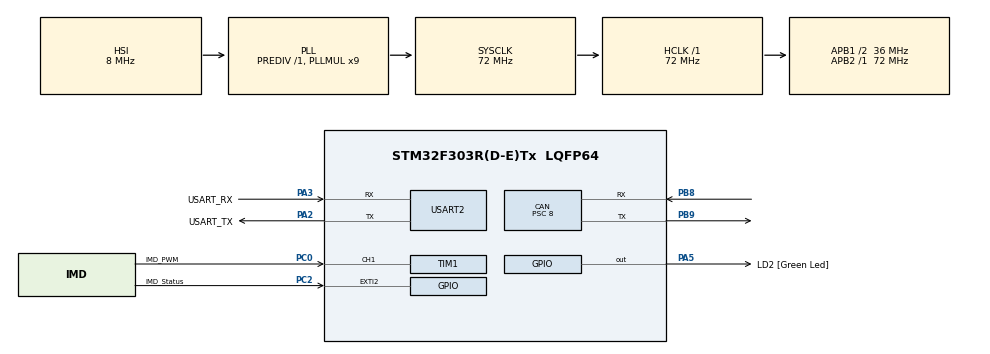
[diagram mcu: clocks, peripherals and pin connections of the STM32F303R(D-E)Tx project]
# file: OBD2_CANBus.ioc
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CAN.BS1=CAN_BS1_4TQ
CAN.BS2=CAN_BS2_4TQ
CAN.CalculateBaudRate=500000
CAN.CalculateTimeBit=2000
CAN.CalculateTimeQuantum=222.22222222222223
CAN.Prescaler=8
CAN.SJW=CAN_SJW_1TQ
Mcu.Family=STM32F3
Mcu.Name=STM32F303R(D-E)Tx
Mcu.Package=LQFP64
NVIC.EXTI2_TSC_IRQn=true\:0\:0\:false\:false\:true\:true\:true\:true
NVIC.PriorityGroup=NVIC_PRIORITYGROUP_0
NVIC.TIM1_CC_IRQn=true\:0\:0\:false\:false\:true\:true\:true\:true
NVIC.USB_LP_CAN_RX0_IRQn=true\:0\:0\:false\:false\:true\:true\:true\:true
PA13.GPIO_Label=TMS
PA13.Mode=Trace_Asynchronous_SW
PA13.Signal=SYS_JTMS-SWDIO
PA14.GPIO_Label=TCK
PA14.Mode=Trace_Asynchronous_SW
PA14.Signal=SYS_JTCK-SWCLK
PA2.GPIO_Label=USART_TX
PA2.GPIO_Mode=GPIO_MODE_AF_PP
PA2.GPIO_PuPd=GPIO_NOPULL
PA2.GPIO_Speed=GPIO_SPEED_FREQ_LOW
PA2.Mode=Asynchronous
PA2.Signal=USART2_TX
PA3.GPIO_Label=USART_RX
PA3.GPIO_Mode=GPIO_MODE_AF_PP
PA3.GPIO_PuPd=GPIO_NOPULL
PA3.GPIO_Speed=GPIO_SPEED_FREQ_LOW
PA3.Mode=Asynchronous
PA3.Signal=USART2_RX
PA5.GPIO_Label=LD2 [Green Led]
PA5.GPIO_Mode=GPIO_MODE_OUTPUT_PP
PA5.GPIO_PuPd=GPIO_NOPULL
PA5.GPIO_Speed=GPIO_SPEED_FREQ_LOW
PA5.Signal=GPIO_Output
PB3.GPIO_Label=SWO
PB3.Mode=Trace_Asynchronous_SW
PB3.Signal=SYS_JTDO-TRACESWO
PB8.Mode=CAN_Activate
PB8.Signal=CAN_RX
PB9.Mode=CAN_Activate
PB9.Signal=CAN_TX
PC0.GPIO_Label=IMD_PWM
PC0.Signal=S_TIM1_CH1
PC14-OSC32_IN.Mode=LSE-External-Oscillator
PC14-OSC32_IN.Signal=RCC_OSC32_IN
PC15-OSC32_OUT.Mode=LSE-External-Oscillator
PC15-OSC32_OUT.Signal=RCC_OSC32_OUT
PC2.GPIO_Label=IMD_Status
PC2.GPIO_ModeDefaultEXTI=GPIO_MODE_IT_RISING_FALLING
PC2.Signal=GPXTI2
PF0-OSC_IN.Mode=HSE-External-Clock-Source
PF0-OSC_IN.Signal=RCC_OSC_IN
PF1-OSC_OUT.Signal=RCC_OSC_OUT
ProjectManager.HeapSize=0x200
ProjectManager.StackSize=0x400
ProjectManager.TargetToolchain=STM32CubeIDE
RCC.AHBFreq_Value=72000000
RCC.APB1CLKDivider=RCC_HCLK_DIV2
RCC.APB1Freq_Value=36000000
RCC.APB1TimFreq_Value=72000000
RCC.APB2Freq_Value=72000000
RCC.APB2TimFreq_Value=72000000
RCC.CortexFreq_Value=72000000
RCC.HCLKFreq_Value=72000000
RCC.HSE_VALUE=8000000
RCC.HSI_VALUE=8000000
RCC.PLLM=8
RCC.PLLMUL=RCC_PLL_MUL9
RCC.PLLN=336
RCC.PLLP=RCC_PLLP_DIV4
RCC.PLLQ=7
RCC.RCC_PLLsource_Clock_Source_FROM_HSE=RCC_HSE_PREDIV_DIV2
RCC.SYSCLKFreq_VALUE=72000000
RCC.SYSCLKSourceVirtual=RCC_SYSCLKSOURCE_PLLCLK
RCC.USBFreq_Value=72000000
SH.S_TIM1_CH1.0=TIM1_CH1,PWM_Input_1
TIM1.Prescaler=72
USART2.VirtualMode-Asynchronous=VM_ASYNC
VP_TIM1_VS_ClockSourceINT.Mode=Internal
board=NUCLEO-F303RE

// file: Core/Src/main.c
/* USER CODE BEGIN Header */
/**
  ******************************************************************************
  * @file           : main.c
  * @brief          : Main program body
  ******************************************************************************
  * @attention
  *
  * Copyright (c) 2025 STMicroelectronics.
  * All rights reserved.
  *
  * This software is licensed under terms that can be found in the LICENSE file
  * in the root directory of this software component.
  * If no LICENSE file comes with this software, it is provided AS-IS.
  *
  ******************************************************************************
  */
/* USER CODE END Header */
#include "main.h"

/* USER CODE BEGIN Includes */
#include "stdio.h"
#include "OBD2msg.h"
#include "BMSmsg.h"
/* USER CODE END Includes */

/* USER CODE BEGIN PD */
#define ID						0x112
#define TIMER_PRESCALER 		71
#define TIMER_CLK 				(72000000 / (TIMER_PRESCALER + 1))

// IMD messaging
#define IMD_ID					0x100
#define IMD_MSG_LEN				6

/* USER CODE END PD */

CAN_HandleTypeDef hcan;

TIM_HandleTypeDef htim1;

UART_HandleTypeDef huart2;

/* USER CODE BEGIN PV */
CAN_TxHeaderTypeDef		TxHeader;
CAN_RxHeaderTypeDef		RxHeader;
uint8_t					TxData[8];
uint8_t					RxData[8];
uint32_t				TxMailbox;
uint8_t i;

uint8_t msgBuffer[8];
uint8_t clearBuffer[8] = {0x00, 0x00, 0x00, 0x00, 0x00, 0x00, 0x00, 0x00};

// For IMD messaging
uint8_t	IMD_TxData[IMD_MSG_LEN];	// transmit register for IMD

/* USER CODE END PV */

void SystemClock_Config(void);
static void MX_GPIO_Init(void);
static void MX_USART2_UART_Init(void);
static void MX_CAN_Init(void);
static void MX_TIM1_Init(void);
/* USER CODE BEGIN PFP */
void ReceiveIndicator(void);
void TransmitIndicator(void);
/* USER CODE END PFP */

/* USER CODE BEGIN 0 */

volatile uint32_t ICValue = 0;
volatile uint8_t Frequency = 0;
volatile uint8_t Status = 0;
volatile uint8_t Duty = 0;

void HAL_TIM_IC_CaptureCallback(TIM_HandleTypeDef *htim)
{
	if(htim->Channel == HAL_TIM_ACTIVE_CHANNEL_1)	//	If the interrupt is triggered by channel 1
	{
		// Disable interrupts to ensure atomic access to shared variables
		__disable_irq();

		//	Read the IC value
		ICValue = HAL_TIM_ReadCapturedValue(htim, TIM_CHANNEL_1);

		if (ICValue != 0)
		{
			//	calculate the Duty Cycle
			Duty = (uint8_t)((HAL_TIM_ReadCapturedValue(htim, TIM_CHANNEL_2) * 100)/ICValue);

			//	calculate the frequency of the signal
			//Frequency = 72000000/ICValue;
			Frequency = (uint8_t)(TIMER_CLK / ICValue);
		}

		// check status from GPIO

		// Re-enable interrupts
		__enable_irq();
	}
}

int _write(int file, char *ptr, int len)
{
  for (i = 0; i < len; i++)
  {
    ITM_SendChar(*ptr++);
  }
  return len;
}

/* USER CODE END 0 */

int main(void)
{

  /* MCU Configuration--------------------------------------------------------*/

  /* Reset of all peripherals, Initializes the Flash interface and the Systick. */
  HAL_Init();

  /* Configure the system clock */
  SystemClock_Config();

  /* Initialize all configured peripherals */
  MX_GPIO_Init();
  MX_USART2_UART_Init();
  MX_CAN_Init();
  MX_TIM1_Init();
  /* USER CODE BEGIN 2 */

  HAL_TIM_IC_Start_IT(&htim1, TIM_CHANNEL_1); 	//	main channel
  HAL_TIM_IC_Start(&htim1, TIM_CHANNEL_2);		//	indirect channel

  // Adjust CAN settings for IMD Messages
  TxHeader.StdId = IMD_ID;
  TxHeader.DLC = IMD_MSG_LEN;

  /* USER CODE END 2 */

  /* Infinite loop */
  while (1)
  {

    /* USER CODE BEGIN 3 */

	  HAL_Delay(100);

	  writeIMD(IMD_TxData, Frequency, Duty, Status);
	  if (HAL_CAN_AddTxMessage(&hcan, &TxHeader, IMD_TxData, &TxMailbox) != HAL_OK) {		// Transmit the message
		  Error_Handler();																	// Transmission error
	  }

	  // Transmit
//	  writeOBD2BMS(msgBuffer, BMS_LEN_PSOC, OBD2_BMS_MODE, BMS_PID_PSOC, clearBuffer);	// Construct OBD2 Format Message in buffer
//	  loadOBD2(TxData, msgBuffer);														// Copy the buffer into the transmit register
//	  HAL_Delay(50);
//	  if (HAL_CAN_AddTxMessage(&hcan, &TxHeader, TxData, &TxMailbox) != HAL_OK) {		// Transmit the message
//		  Error_Handler();																// Transmission error
//		  }

	  // Receive
//	  if (RxData[1] != 0x00) {
//		  readOBD2BMS(RxData);
//		  HAL_Delay(50);					    											    // Keep LED on for 2 seconds
//		  for (i=0; i<8; i++) {
//			  RxData[i] = 0x00;																	// Reset the RxData[] buffer (used as flag)
//			  }
//		  HAL_Delay(100);																		// Need a delay after toggle
//		  }

  }

  /* USER CODE END 3 */
}

void SystemClock_Config(void)
{
  RCC_OscInitTypeDef RCC_OscInitStruct = {0};
  RCC_ClkInitTypeDef RCC_ClkInitStruct = {0};
  RCC_PeriphCLKInitTypeDef PeriphClkInit = {0};

  /** Initializes the RCC Oscillators according to the specified parameters
  * in the RCC_OscInitTypeDef structure.
  */
  RCC_OscInitStruct.OscillatorType = RCC_OSCILLATORTYPE_HSI;
  RCC_OscInitStruct.HSIState = RCC_HSI_ON;
  RCC_OscInitStruct.HSICalibrationValue = RCC_HSICALIBRATION_DEFAULT;
  RCC_OscInitStruct.PLL.PLLState = RCC_PLL_ON;
  RCC_OscInitStruct.PLL.PLLSource = RCC_PLLSOURCE_HSI;
  RCC_OscInitStruct.PLL.PLLMUL = RCC_PLL_MUL9;
  RCC_OscInitStruct.PLL.PREDIV = RCC_PREDIV_DIV1;
  if (HAL_RCC_OscConfig(&RCC_OscInitStruct) != HAL_OK)
  {
    Error_Handler();
  }

  /** Initializes the CPU, AHB and APB buses clocks
  */
  RCC_ClkInitStruct.ClockType = RCC_CLOCKTYPE_HCLK|RCC_CLOCKTYPE_SYSCLK
                              |RCC_CLOCKTYPE_PCLK1|RCC_CLOCKTYPE_PCLK2;
  RCC_ClkInitStruct.SYSCLKSource = RCC_SYSCLKSOURCE_PLLCLK;
  RCC_ClkInitStruct.AHBCLKDivider = RCC_SYSCLK_DIV1;
  RCC_ClkInitStruct.APB1CLKDivider = RCC_HCLK_DIV2;
  RCC_ClkInitStruct.APB2CLKDivider = RCC_HCLK_DIV1;

  if (HAL_RCC_ClockConfig(&RCC_ClkInitStruct, FLASH_LATENCY_2) != HAL_OK)
  {
    Error_Handler();
  }
  PeriphClkInit.PeriphClockSelection = RCC_PERIPHCLK_USART2|RCC_PERIPHCLK_TIM1;
  PeriphClkInit.Usart2ClockSelection = RCC_USART2CLKSOURCE_PCLK1;
  PeriphClkInit.Tim1ClockSelection = RCC_TIM1CLK_HCLK;
  if (HAL_RCCEx_PeriphCLKConfig(&PeriphClkInit) != HAL_OK)
  {
    Error_Handler();
  }
}

static void MX_CAN_Init(void)
{

  hcan.Instance = CAN;
  hcan.Init.Prescaler = 8;
  hcan.Init.Mode = CAN_MODE_NORMAL;
  hcan.Init.SyncJumpWidth = CAN_SJW_1TQ;
  hcan.Init.TimeSeg1 = CAN_BS1_4TQ;
  hcan.Init.TimeSeg2 = CAN_BS2_4TQ;
  hcan.Init.TimeTriggeredMode = DISABLE;
  hcan.Init.AutoBusOff = DISABLE;
  hcan.Init.AutoWakeUp = DISABLE;
  hcan.Init.AutoRetransmission = DISABLE;
  hcan.Init.ReceiveFifoLocked = DISABLE;
  hcan.Init.TransmitFifoPriority = DISABLE;
  if (HAL_CAN_Init(&hcan) != HAL_OK)
  {
    Error_Handler();
  }
  /* USER CODE BEGIN CAN_Init 2 */

  // Set Up CAN_Rx Filter

  CAN_FilterTypeDef filter;		// This is one of the 13 filters - can create more filters - this one will be number 0

  // Configure filter 0  to direct everything to FIFO 0
  filter.FilterBank = 0;                            // this is filter number 0
  filter.FilterIdHigh = 0x0700 << 5;                // Set FilterIdHigh bits by choosing an ID and aligning the bits in the filter register with the receive register by shifting << 5
  filter.FilterIdLow = 0x0000;                        // Not using FilterIdLow bits (set as don't care)
  filter.FilterMaskIdHigh = 0x700 <<5;                // Same as example in lecture (this gives a range of ID's that will be accepted of between 0x100 and 0x103). Must also align the bits;
  filter.FilterMaskIdLow = 0x0000;                    // Not using FilterMaskLow bits (set as don't care)
  filter.FilterFIFOAssignment = CAN_FILTER_FIFO0;    //
  filter.FilterMode = CAN_FILTERMODE_IDMASK;        // uses mask mode (so can set range of IDs)
  filter.FilterScale = CAN_FILTERSCALE_32BIT;        // use 32 bit filters
  filter.FilterActivation = ENABLE;                    // By default the filters are disable so enable them
  filter.SlaveStartFilterBank = 0;

  if (HAL_CAN_ConfigFilter(&hcan, &filter) != HAL_OK)	// Set the above value for filter 0
  {
	  Error_Handler();
  }

  // Start the CAN Peripheral
  if (HAL_CAN_Start(&hcan) != HAL_OK)
  {
	  Error_Handler();
  }

  // Activate CAN_Rx notification interrupt
  if (HAL_CAN_ActivateNotification(&hcan, CAN_IT_RX_FIFO0_MSG_PENDING) != HAL_OK)
  {
	  Error_Handler();
  }

  // Prepare header field for Standard Mode CAN Transmission
  TxHeader.IDE = CAN_ID_STD;				// Using standard mode. Note this = CAN_ID_EXT for extended mode
  TxHeader.ExtId = 0x00;					// Extended ID is not used
  TxHeader.StdId = ID;						// Standard mode ID is 0x100 -- CHANGE THIS LATER --
  TxHeader.RTR = CAN_RTR_DATA;				// Send Data frame not an RTR
  TxHeader.DLC = 8;							// Data Length Code = 8
  TxHeader.TransmitGlobalTime = DISABLE;

  /* USER CODE END CAN_Init 2 */

}

static void MX_TIM1_Init(void)
{

  TIM_ClockConfigTypeDef sClockSourceConfig = {0};
  TIM_SlaveConfigTypeDef sSlaveConfig = {0};
  TIM_IC_InitTypeDef sConfigIC = {0};
  TIM_MasterConfigTypeDef sMasterConfig = {0};

  htim1.Instance = TIM1;
  htim1.Init.Prescaler = 72;
  htim1.Init.CounterMode = TIM_COUNTERMODE_UP;
  htim1.Init.Period = 65535;
  htim1.Init.ClockDivision = TIM_CLOCKDIVISION_DIV1;
  htim1.Init.RepetitionCounter = 0;
  htim1.Init.AutoReloadPreload = TIM_AUTORELOAD_PRELOAD_DISABLE;
  if (HAL_TIM_Base_Init(&htim1) != HAL_OK)
  {
    Error_Handler();
  }
  sClockSourceConfig.ClockSource = TIM_CLOCKSOURCE_INTERNAL;
  if (HAL_TIM_ConfigClockSource(&htim1, &sClockSourceConfig) != HAL_OK)
  {
    Error_Handler();
  }
  if (HAL_TIM_IC_Init(&htim1) != HAL_OK)
  {
    Error_Handler();
  }
  sSlaveConfig.SlaveMode = TIM_SLAVEMODE_RESET;
  sSlaveConfig.InputTrigger = TIM_TS_TI1FP1;
  sSlaveConfig.TriggerPolarity = TIM_INPUTCHANNELPOLARITY_RISING;
  sSlaveConfig.TriggerPrescaler = TIM_ICPSC_DIV1;
  sSlaveConfig.TriggerFilter = 0;
  if (HAL_TIM_SlaveConfigSynchro(&htim1, &sSlaveConfig) != HAL_OK)
  {
    Error_Handler();
  }
  sConfigIC.ICPolarity = TIM_INPUTCHANNELPOLARITY_RISING;
  sConfigIC.ICSelection = TIM_ICSELECTION_DIRECTTI;
  sConfigIC.ICPrescaler = TIM_ICPSC_DIV1;
  sConfigIC.ICFilter = 0;
  if (HAL_TIM_IC_ConfigChannel(&htim1, &sConfigIC, TIM_CHANNEL_1) != HAL_OK)
  {
    Error_Handler();
  }
  sConfigIC.ICPolarity = TIM_INPUTCHANNELPOLARITY_FALLING;
  sConfigIC.ICSelection = TIM_ICSELECTION_INDIRECTTI;
  if (HAL_TIM_IC_ConfigChannel(&htim1, &sConfigIC, TIM_CHANNEL_2) != HAL_OK)
  {
    Error_Handler();
  }
  sMasterConfig.MasterOutputTrigger = TIM_TRGO_RESET;
  sMasterConfig.MasterOutputTrigger2 = TIM_TRGO2_RESET;
  sMasterConfig.MasterSlaveMode = TIM_MASTERSLAVEMODE_DISABLE;
  if (HAL_TIMEx_MasterConfigSynchronization(&htim1, &sMasterConfig) != HAL_OK)
  {
    Error_Handler();
  }

}

static void MX_USART2_UART_Init(void)
{

  huart2.Instance = USART2;
  huart2.Init.BaudRate = 38400;
  huart2.Init.WordLength = UART_WORDLENGTH_8B;
  huart2.Init.StopBits = UART_STOPBITS_1;
  huart2.Init.Parity = UART_PARITY_NONE;
  huart2.Init.Mode = UART_MODE_TX_RX;
  huart2.Init.HwFlowCtl = UART_HWCONTROL_NONE;
  huart2.Init.OverSampling = UART_OVERSAMPLING_16;
  huart2.Init.OneBitSampling = UART_ONE_BIT_SAMPLE_DISABLE;
  huart2.AdvancedInit.AdvFeatureInit = UART_ADVFEATURE_NO_INIT;
  if (HAL_UART_Init(&huart2) != HAL_OK)
  {
    Error_Handler();
  }

}

static void MX_GPIO_Init(void)
{
  GPIO_InitTypeDef GPIO_InitStruct = {0};

  /* GPIO Ports Clock Enable */
  __HAL_RCC_GPIOC_CLK_ENABLE();
  __HAL_RCC_GPIOF_CLK_ENABLE();
  __HAL_RCC_GPIOA_CLK_ENABLE();
  __HAL_RCC_GPIOB_CLK_ENABLE();

  /*Configure GPIO pin Output Level */
  HAL_GPIO_WritePin(LD2_GPIO_Port, LD2_Pin, GPIO_PIN_RESET);

  /*Configure GPIO pin : IMD_Status_Pin */
  GPIO_InitStruct.Pin = IMD_Status_Pin;
  GPIO_InitStruct.Mode = GPIO_MODE_IT_RISING_FALLING;
  GPIO_InitStruct.Pull = GPIO_NOPULL;
  HAL_GPIO_Init(IMD_Status_GPIO_Port, &GPIO_InitStruct);

  /*Configure GPIO pin : LD2_Pin */
  GPIO_InitStruct.Pin = LD2_Pin;
  GPIO_InitStruct.Mode = GPIO_MODE_OUTPUT_PP;
  GPIO_InitStruct.Pull = GPIO_NOPULL;
  GPIO_InitStruct.Speed = GPIO_SPEED_FREQ_LOW;
  HAL_GPIO_Init(LD2_GPIO_Port, &GPIO_InitStruct);

  /* EXTI interrupt init*/
  HAL_NVIC_SetPriority(EXTI2_TSC_IRQn, 0, 0);
  HAL_NVIC_EnableIRQ(EXTI2_TSC_IRQn);

}

/* USER CODE BEGIN 4 */

// Override the HAL_CAN_RxFifo0MsgPendingCallback function
// This is called when the interrupt for FIFO0 is triggered.
void HAL_CAN_RxFifo0MsgPendingCallback(CAN_HandleTypeDef *hcan)
{
	// Get Rx Message and store in RxData[] buffer
	if (HAL_CAN_GetRxMessage(hcan, CAN_RX_FIFO0, &RxHeader, RxData) != HAL_OK)
	{
		Error_Handler();
	}

}

// Override the HAL_GPIO Callback
void HAL_GPIO_EXTI_Callback(uint16_t GPIO_Pin)
{
	if (GPIO_Pin == GPIO_PIN_2)
	{
		__disable_irq();

		if (HAL_GPIO_ReadPin(GPIOC, GPIO_PIN_2) == GPIO_PIN_SET)
		{
			Status = 0xFF;
		}
		else
		{
			Status = 0x00;
		}

		__enable_irq();
	}
}

/* USER CODE END 4 */

void Error_Handler(void)
{
  __disable_irq();
  while (1)
  {
  }
}
